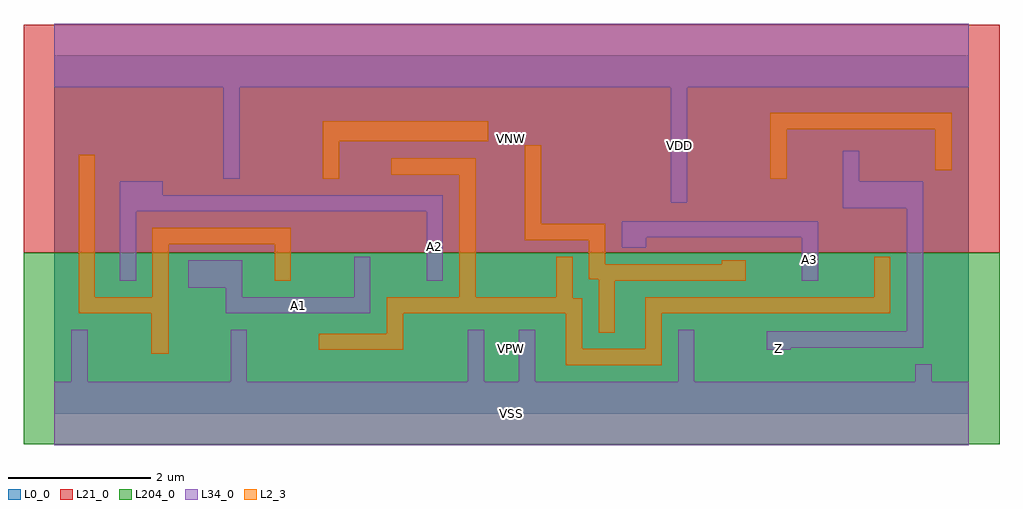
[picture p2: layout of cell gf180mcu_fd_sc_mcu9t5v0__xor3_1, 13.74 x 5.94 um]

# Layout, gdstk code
import gdstk
lib = gdstk.Library(unit=1e-6, precision=1e-09)
def R(c, l, rs):  # rectangles x0, y0, x1, y1
    for r in rs: c.add(gdstk.rectangle(r[:2], r[2:], *l))
L0_0 = (0, 0)
L2_3 = (2, 3)
L21_0 = (21, 0)
L34_0 = (34, 0)
L204_0 = (204, 0)

gf180mcu_fd_sc_mcu9t5v0_ = lib.new_cell('gf180mcu_fd_sc_mcu9t5v0__xor3_1')
R(gf180mcu_fd_sc_mcu9t5v0_, L0_0, [(0,0,12.88,5.04)])
R(gf180mcu_fd_sc_mcu9t5v0_, L2_3, [(7.205,0.68,8.555,0.91), (1.365,0.84,1.615,1.41), (3.73,0.895,4.915,1.125), (7.205,0.91,7.435,1.41), (8.325,0.91,8.555,1.41), (4.685,1.125,4.915,1.41), (7.665,1.14,7.895,1.87), (0.345,1.41,1.615,1.64), (4.685,1.41,7.435,1.62), (8.325,1.41,11.775,1.64), (4.685,1.62,7.3,1.64), (0.345,1.64,0.575,3.645), (1.385,1.64,1.615,2.385), (5.705,1.64,5.935,3.36), (7.07,1.64,7.3,2.21), (11.545,1.64,11.775,2.21), (3.105,1.87,3.335,2.385), (7.665,1.87,9.74,1.89), (7.53,1.89,9.74,2.1), (7.53,2.1,7.76,2.44), (9.4,2.1,9.74,2.155), (1.385,2.385,3.335,2.615), (6.63,2.44,7.76,2.67), (6.63,2.67,6.86,3.775), (3.785,3.305,4.015,3.83), (10.085,3.305,10.315,4.005), (4.75,3.36,5.935,3.59), (12.405,3.425,12.635,4.005), (3.785,3.83,6.11,4.115), (10.085,4.005,12.635,4.235)])
R(gf180mcu_fd_sc_mcu9t5v0_, L21_0, [(-0.43,2.265,13.31,5.47)])
R(gf180mcu_fd_sc_mcu9t5v0_, L34_0, [(0,-0.45,12.88,0.45), (0.245,0.45,0.475,1.18), (2.485,0.45,2.715,1.18), (5.825,0.45,6.055,1.18), (6.545,0.45,6.775,1.18), (8.785,0.45,9.015,1.18), (12.125,0.45,12.355,0.695), (10.03,0.895,10.37,0.925), (10.03,0.925,12.235,1.155), (12.005,1.155,12.235,2.89), (2.42,1.41,4.455,1.64), (2.42,1.64,2.65,1.77), (4.225,1.64,4.455,2.21), (1.89,1.77,2.65,2.155), (0.925,1.87,1.155,2.845), (5.245,1.87,5.475,2.845), (10.525,1.87,10.755,2.48), (7.99,2.33,8.335,2.48), (7.99,2.48,10.755,2.71), (0.925,2.845,5.475,3.075), (11.105,2.89,12.235,3.27), (8.685,2.965,8.915,4.59), (0.925,3.075,1.53,3.27), (11.105,3.27,11.335,3.7), (2.385,3.305,2.615,4.59), (0,4.59,12.88,5.49)])
R(gf180mcu_fd_sc_mcu9t5v0_, L204_0, [(-0.43,-0.43,13.31,2.265)])
gf180mcu_fd_sc_mcu9t5v0_.add(gdstk.Label('A1', (3.437,1.525), layer=34, texttype=10))
gf180mcu_fd_sc_mcu9t5v0_.add(gdstk.Label('A2', (5.36,2.357), layer=34, texttype=10))
gf180mcu_fd_sc_mcu9t5v0_.add(gdstk.Label('A3', (10.64,2.175), layer=34, texttype=10))
gf180mcu_fd_sc_mcu9t5v0_.add(gdstk.Label('Z', (10.2,0.91), layer=34, texttype=10))
gf180mcu_fd_sc_mcu9t5v0_.add(gdstk.Label('VDD', (8.8,3.777), layer=34, texttype=10))
gf180mcu_fd_sc_mcu9t5v0_.add(gdstk.Label('VSS', (6.44,0), layer=34, texttype=10))
gf180mcu_fd_sc_mcu9t5v0_.add(gdstk.Label('VNW', (6.44,3.867), layer=3, texttype=1))
gf180mcu_fd_sc_mcu9t5v0_.add(gdstk.Label('VPW', (6.44,0.917), layer=4, texttype=1))

lib.write_gds('gf180mcu_fd_sc_mcu9t5v0__xor3_1.gds')
